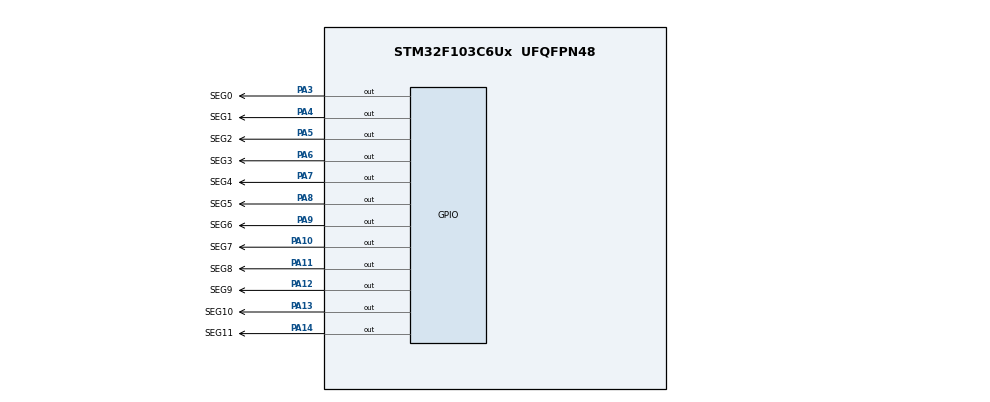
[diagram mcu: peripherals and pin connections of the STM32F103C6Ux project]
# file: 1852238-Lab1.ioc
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Mcu.Family=STM32F1
Mcu.Name=STM32F103C6Ux
Mcu.Package=UFQFPN48
NVIC.PriorityGroup=NVIC_PRIORITYGROUP_4
PA10.GPIO_Label=SEG7
PA10.Signal=GPIO_Output
PA11.GPIO_Label=SEG8
PA11.Signal=GPIO_Output
PA12.GPIO_Label=SEG9
PA12.Signal=GPIO_Output
PA13.GPIO_Label=SEG10
PA13.Signal=GPIO_Output
PA14.GPIO_Label=SEG11
PA14.Signal=GPIO_Output
PA3.GPIO_Label=SEG0
PA3.Signal=GPIO_Output
PA4.GPIO_Label=SEG1
PA4.Signal=GPIO_Output
PA5.GPIO_Label=SEG2
PA5.Signal=GPIO_Output
PA6.GPIO_Label=SEG3
PA6.Signal=GPIO_Output
PA7.GPIO_Label=SEG4
PA7.Signal=GPIO_Output
PA8.GPIO_Label=SEG5
PA8.Signal=GPIO_Output
PA9.GPIO_Label=SEG6
PA9.Signal=GPIO_Output
ProjectManager.HeapSize=0x200
ProjectManager.StackSize=0x400
ProjectManager.TargetToolchain=STM32CubeIDE
RCC.APB1Freq_Value=8000000
RCC.APB2Freq_Value=8000000
VP_SYS_VS_ND.Mode=No_Debug
board=custom

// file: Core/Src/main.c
/* USER CODE BEGIN Header */
/**
  ******************************************************************************
  * @file           : main.c
  * @brief          : Main program body
  ******************************************************************************
  * @attention
  *
  * <h2><center>&copy; Copyright (c) 2022 STMicroelectronics.
  * All rights reserved.</center></h2>
  *
  * This software component is licensed by ST under BSD 3-Clause license,
  * the "License"; You may not use this file except in compliance with the
  * License. You may obtain a copy of the License at:
  *                        opensource.org/licenses/BSD-3-Clause
  *
  ******************************************************************************
  */
/* USER CODE END Header */
#include "main.h"

void SystemClock_Config(void);
static void MX_GPIO_Init(void);

int main(void)
{

  /* MCU Configuration--------------------------------------------------------*/

  /* Reset of all peripherals, Initializes the Flash interface and the Systick. */
  HAL_Init();

  /* Configure the system clock */
  SystemClock_Config();

  /* Initialize all configured peripherals */
  MX_GPIO_Init();

  /* Infinite loop */
  /* USER CODE BEGIN WHILE */

  //Clear function
  void clearAllClock() {
	  HAL_GPIO_WritePin(SEG0_GPIO_Port, SEG0_Pin, RESET);
	  HAL_GPIO_WritePin(SEG1_GPIO_Port, SEG1_Pin, RESET);
	  HAL_GPIO_WritePin(SEG2_GPIO_Port, SEG2_Pin, RESET);
	  HAL_GPIO_WritePin(SEG3_GPIO_Port, SEG3_Pin, RESET);
	  HAL_GPIO_WritePin(SEG4_GPIO_Port, SEG4_Pin, RESET);
	  HAL_GPIO_WritePin(SEG5_GPIO_Port, SEG5_Pin, RESET);
	  HAL_GPIO_WritePin(SEG6_GPIO_Port, SEG6_Pin, RESET);
	  HAL_GPIO_WritePin(SEG7_GPIO_Port, SEG7_Pin, RESET);
	  HAL_GPIO_WritePin(SEG8_GPIO_Port, SEG8_Pin, RESET);
	  HAL_GPIO_WritePin(SEG9_GPIO_Port, SEG9_Pin, RESET);
	  HAL_GPIO_WritePin(SEG10_GPIO_Port, SEG10_Pin, RESET);
	  HAL_GPIO_WritePin(SEG11_GPIO_Port, SEG11_Pin, RESET);
  }

  //Set segment on function
  void setNumberOnClock(int num) {
	  switch (num) {
	  case 0:
		  HAL_GPIO_WritePin(SEG0_GPIO_Port, SEG0_Pin, SET);
		  break;
	  case 1:
		  HAL_GPIO_WritePin(SEG1_GPIO_Port, SEG1_Pin, SET);
		  break;
	  case 2:
		  HAL_GPIO_WritePin(SEG2_GPIO_Port, SEG2_Pin, SET);
		  break;
	  case 3:
		  HAL_GPIO_WritePin(SEG3_GPIO_Port, SEG3_Pin, SET);
		  break;
	  case 4:
		  HAL_GPIO_WritePin(SEG4_GPIO_Port, SEG4_Pin, SET);
		  break;
	  case 5:
		  HAL_GPIO_WritePin(SEG5_GPIO_Port, SEG5_Pin, SET);
		  break;
	  case 6:
		  HAL_GPIO_WritePin(SEG6_GPIO_Port, SEG6_Pin, SET);
		  break;
	  case 7:
		  HAL_GPIO_WritePin(SEG7_GPIO_Port, SEG7_Pin, SET);
		  break;
	  case 8:
		  HAL_GPIO_WritePin(SEG8_GPIO_Port, SEG8_Pin, SET);
		  break;
	  case 9:
		  HAL_GPIO_WritePin(SEG9_GPIO_Port, SEG9_Pin, SET);
		  break;
	  case 10:
		  HAL_GPIO_WritePin(SEG10_GPIO_Port, SEG10_Pin, SET);
		  break;
	  case 11:
		  HAL_GPIO_WritePin(SEG11_GPIO_Port, SEG11_Pin, SET);
		  break;
	  }
  }

  //Set segment off function
  void clearNumberOnClock(int num) {
	  switch (num) {
	  case 0:
		  HAL_GPIO_WritePin(SEG0_GPIO_Port, SEG0_Pin, RESET);
		  break;
	  case 1:
		  HAL_GPIO_WritePin(SEG1_GPIO_Port, SEG1_Pin, RESET);
		  break;
	  case 2:
		  HAL_GPIO_WritePin(SEG2_GPIO_Port, SEG2_Pin, RESET);
		  break;
	  case 3:
		  HAL_GPIO_WritePin(SEG3_GPIO_Port, SEG3_Pin, RESET);
		  break;
	  case 4:
		  HAL_GPIO_WritePin(SEG4_GPIO_Port, SEG4_Pin, RESET);
		  break;
	  case 5:
		  HAL_GPIO_WritePin(SEG5_GPIO_Port, SEG5_Pin, RESET);
		  break;
	  case 6:
		  HAL_GPIO_WritePin(SEG6_GPIO_Port, SEG6_Pin, RESET);
		  break;
	  case 7:
		  HAL_GPIO_WritePin(SEG7_GPIO_Port, SEG7_Pin, RESET);
		  break;
	  case 8:
		  HAL_GPIO_WritePin(SEG8_GPIO_Port, SEG8_Pin, RESET);
		  break;
	  case 9:
		  HAL_GPIO_WritePin(SEG9_GPIO_Port, SEG9_Pin, RESET);
		  break;
	  case 10:
		  HAL_GPIO_WritePin(SEG10_GPIO_Port, SEG10_Pin, RESET);
		  break;
	  case 11:
		  HAL_GPIO_WritePin(SEG11_GPIO_Port, SEG11_Pin, RESET);
		  break;
	  }
  }

  //INIT to clear warnings
  clearAllClock();

  //INIT BEGIN CONDITION AKA SET HR:MIN:SEC
  int hour = 0;
  int min = 0;
  int sec = 0;

  //INIT HAND(S)
  setNumberOnClock(0); //HR
  //setNumberOnClock(11); //MIN
  //setNumberOnClock(3); //SEC

  //Detect change of minute hand (pmin)
  int pmin = 0;

  while (1)
  {
	//RESET SEC - RAISE PMIN FLAG
	if (sec == 61) {
		min++;
		sec = 0;
		pmin = 1;
	}

	//RESET MIN - CHANGE HR HAND
	if (min == 60) {
		hour++;
		min = 0;
		setNumberOnClock(hour); //Next seg
		clearNumberOnClock(hour - 1); //Clear previous seg
	}

	//RESET HR
	if (hour == 12) hour = 0;

	//WHEN MIN HAS CHANGED
	if (pmin == 1) {
		//The change is in range of 5 -> move hand
		if (min % 5 == 0) {
			setNumberOnClock(min/5);
			//Find out which hand to clear
			int cmin;
			if (min == 0) cmin = 11;
			else cmin = min / 5 - 1;
			//Condition to avoid clearing preoccupied segments
			if (cmin != hour && cmin != sec/5) {
				clearNumberOnClock(cmin);
			}
		}
		//Reset flag
		pmin = 0;
	}

	//RESET SEC
	if (sec % 5 == 0) {
		setNumberOnClock(sec/5);
		//Find out which hand to clear
		int csec = sec / 5 - 1;
		if (csec != hour && csec != min / 5) {
			clearNumberOnClock(csec);
		}
	}

	//Time progression every 1s
	HAL_Delay(1000);
	sec++;
    /* USER CODE END WHILE */

  }
}

void SystemClock_Config(void)
{
  RCC_OscInitTypeDef RCC_OscInitStruct = {0};
  RCC_ClkInitTypeDef RCC_ClkInitStruct = {0};

  /** Initializes the RCC Oscillators according to the specified parameters
  * in the RCC_OscInitTypeDef structure.
  */
  RCC_OscInitStruct.OscillatorType = RCC_OSCILLATORTYPE_HSI;
  RCC_OscInitStruct.HSIState = RCC_HSI_ON;
  RCC_OscInitStruct.HSICalibrationValue = RCC_HSICALIBRATION_DEFAULT;
  RCC_OscInitStruct.PLL.PLLState = RCC_PLL_NONE;
  if (HAL_RCC_OscConfig(&RCC_OscInitStruct) != HAL_OK)
  {
    Error_Handler();
  }
  /** Initializes the CPU, AHB and APB buses clocks
  */
  RCC_ClkInitStruct.ClockType = RCC_CLOCKTYPE_HCLK|RCC_CLOCKTYPE_SYSCLK
                              |RCC_CLOCKTYPE_PCLK1|RCC_CLOCKTYPE_PCLK2;
  RCC_ClkInitStruct.SYSCLKSource = RCC_SYSCLKSOURCE_HSI;
  RCC_ClkInitStruct.AHBCLKDivider = RCC_SYSCLK_DIV1;
  RCC_ClkInitStruct.APB1CLKDivider = RCC_HCLK_DIV1;
  RCC_ClkInitStruct.APB2CLKDivider = RCC_HCLK_DIV1;

  if (HAL_RCC_ClockConfig(&RCC_ClkInitStruct, FLASH_LATENCY_0) != HAL_OK)
  {
    Error_Handler();
  }
}

static void MX_GPIO_Init(void)
{
  GPIO_InitTypeDef GPIO_InitStruct = {0};

  /* GPIO Ports Clock Enable */
  __HAL_RCC_GPIOA_CLK_ENABLE();

  /*Configure GPIO pin Output Level */
  HAL_GPIO_WritePin(GPIOA, SEG0_Pin|SEG1_Pin|SEG2_Pin|SEG3_Pin
                          |SEG4_Pin|SEG5_Pin|SEG6_Pin|SEG7_Pin
                          |SEG8_Pin|SEG9_Pin|SEG10_Pin|SEG11_Pin, GPIO_PIN_RESET);

  /*Configure GPIO pins : SEG0_Pin SEG1_Pin SEG2_Pin SEG3_Pin
                           SEG4_Pin SEG5_Pin SEG6_Pin SEG7_Pin
                           SEG8_Pin SEG9_Pin SEG10_Pin SEG11_Pin */
  GPIO_InitStruct.Pin = SEG0_Pin|SEG1_Pin|SEG2_Pin|SEG3_Pin
                          |SEG4_Pin|SEG5_Pin|SEG6_Pin|SEG7_Pin
                          |SEG8_Pin|SEG9_Pin|SEG10_Pin|SEG11_Pin;
  GPIO_InitStruct.Mode = GPIO_MODE_OUTPUT_PP;
  GPIO_InitStruct.Pull = GPIO_NOPULL;
  GPIO_InitStruct.Speed = GPIO_SPEED_FREQ_LOW;
  HAL_GPIO_Init(GPIOA, &GPIO_InitStruct);

}

void Error_Handler(void)
{
  __disable_irq();
  while (1)
  {
  }
}

/************************ (C) COPYRIGHT STMicroelectronics *****END OF FILE****/
